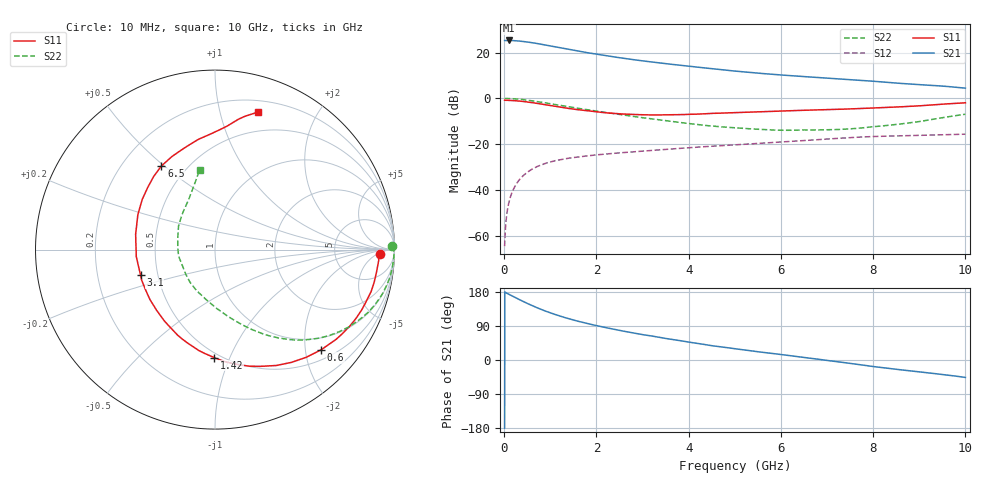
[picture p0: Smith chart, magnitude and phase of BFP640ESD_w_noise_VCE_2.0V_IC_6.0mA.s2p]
! Infineon Technologies  Discrete & RF Semiconductors
! BFP640ESD
! VCE =  2.0 V,  IC =  6.0 mA
! Common Emitter S-Parameters:  Jan 2016
# GHz  S  MA  R  50
!  f  S11  S21  S12  S22
! GHz  MAG  ANG  MAG  ANG  MAG  ANG  MAG  ANG
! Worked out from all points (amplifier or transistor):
!   233 points, 10 MHz to 10 GHz, reference 50 ohm
!   highest |S21| = 25.3 dB at 100 MHz (marker M1)
!   |S21| within 3 dB of that: start of sweep to 1.17 GHz
!   unconditionally stable (mu >= 1): 4.593 GHz to 9.085 GHz
!   at 200 MHz: K = 0.05, MSG = 32.4 dB, |S12| = -39.7 dB
!   at 1.74 GHz: K = 0.52, MSG = 22.7 dB, |S12| = -25.2 dB
!   at 10 GHz: K = 0.85, MSG = 10.0 dB, |S12| = -15.6 dB
!   lowest NFmin = 0.60 dB at 450 MHz
!   S11 on the Smith chart (normalised r, x): 10 MHz: 21, -7; 600 MHz: 0.71, -2.34; 1.42 GHz: 0.47, -0.88; 3.1 GHz: 0.40, -0.14; 6.5 GHz: 0.36, +0.49; 10 GHz: 0.30, +1.32
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0.01  0.9177 -1.6  18.41 -179.9  0.0006 47.5  0.9861 1.1
0.05  0.9141 -3.8  18.33 176.6  0.0026 86.6  0.9974 -2.4
0.1  0.9091 -7.5  18.42 173.9  0.0052 85.6  0.995 -4.7
0.2  0.9008 -15.0  18.28 167.5  0.0104 81.7  0.985 -9.4
0.36  0.8719 -26.7  17.73 157.6  0.0183 74.9  0.9559 -16.5
0.5  0.84 -36.5  17.05 149.4  0.0245 69.6  0.9208 -22.5
0.6  0.8134 -43.3  16.47 143.7  0.0285 66.1  0.8912 -26.3
0.72  0.78 -51.0  15.76 137.6  0.0329 62.2  0.8551 -30.7
0.9  0.7306 -62.1  14.65 128.9  0.0385 57.1  0.8 -36.6
1.14  0.6663 -75.7  13.21 118.7  0.0446 51.7  0.7274 -43.5
1.42  0.6016 -90.4  11.68 108.2  0.0501 46.8  0.6514 -50.3
1.68  0.5547 -102.8  10.49 99.8  0.0542 43.4  0.5926 -55.5
2  0.5101 -116.7  9.236 90.8  0.0587 40.4  0.5318 -61.1
2.38  0.4707 -132.9  8.066 81.0  0.0635 37.5  0.4665 -67.7
3.1  0.4388 -161.0  6.423 65.2  0.0722 33.6  0.3692 -80.5
3.4  0.4375 -171.5  5.906 59.1  0.076 32.3  0.3379 -86.2
4  0.4504 169.0  5.065 47.1  0.0842 29.5  0.2843 -99.6
5.1  0.4953 143.7  3.876 28.2  0.0986 23.6  0.2256 -129.4
6.5  0.5535 122.6  3.003 6.7  0.1207 15.7  0.206 -169.9
6.8  0.5629 117.9  2.866 2.2  0.1263 13.5  0.2057 -177.5
8.4  0.6439 92.3  2.204 -23.0  0.1517 -1.7  0.264 134.8
10  0.8042 72.5  1.679 -46.0  0.1662 -15.7  0.4536 100.8
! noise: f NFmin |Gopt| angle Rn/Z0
0.45  0.6  0.35  10  0.12
0.9  0.62  0.33  22  0.12
1.9  0.67  0.26  44  0.12
2.4  0.71  0.22  60  0.11
5.5  1.06  0.33  -140  0.13
10  2  0.62  -82  0.81
